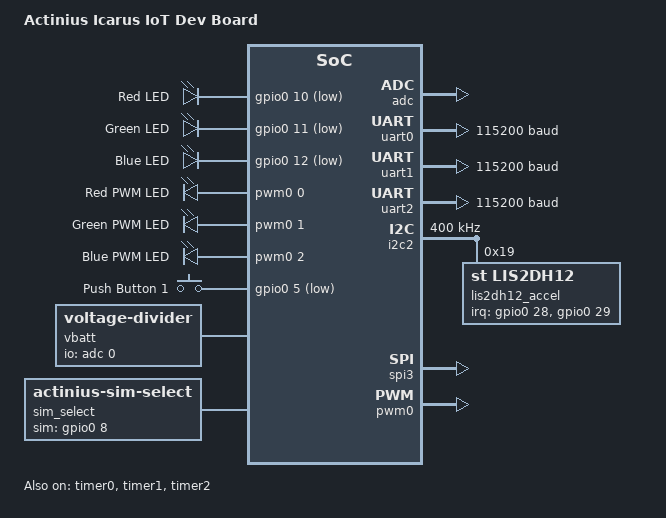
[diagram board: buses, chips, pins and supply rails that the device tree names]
/*
 * Copyright (c) 2019-2022 Actinius
 *
 * SPDX-License-Identifier: Apache-2.0
 */
#include "actinius_icarus_common-pinctrl.dtsi"

/ {
	model = "Actinius Icarus IoT Dev Board";
	compatible = "actinius,icarus";

	chosen {
		zephyr,console = &uart0;
		zephyr,shell-uart = &uart0;
		zephyr,uart-mcumgr = &uart0;
	};

	leds {
		compatible = "gpio-leds";

		red_led: led_0 {
			gpios = <&gpio0 10 GPIO_ACTIVE_LOW>;
			label = "Red LED";
		};

		green_led: led_1 {
			gpios = <&gpio0 11 GPIO_ACTIVE_LOW>;
			label = "Green LED";
		};

		blue_led: led_2 {
			gpios = <&gpio0 12 GPIO_ACTIVE_LOW>;
			label = "Blue LED";
		};
	};

	pwmleds {
		compatible = "pwm-leds";

		red_pwm_led: led_pwm_0 {
			pwms = <&pwm0 0 PWM_MSEC(20) PWM_POLARITY_INVERTED>;
			label = "Red PWM LED";
		};

		green_pwm_led: led_pwm_1 {
			pwms = <&pwm0 1 PWM_MSEC(20) PWM_POLARITY_INVERTED>;
			label = "Green PWM LED";
		};

		blue_pwm_led: led_pwm_2 {
			pwms = <&pwm0 2 PWM_MSEC(20) PWM_POLARITY_INVERTED>;
			label = "Blue PWM LED";
		};
	};

	buttons {
		compatible = "gpio-keys";

		button0: button_0 {
			gpios = <&gpio0 5 (GPIO_PULL_UP | GPIO_ACTIVE_LOW)>;
			label = "Push Button 1";
		};
	};

	aliases {
		led0 = &red_led;
		led1 = &green_led;
		led2 = &blue_led;
		pwm-led0 = &red_pwm_led;
		pwm-led1 = &green_pwm_led;
		pwm-led2 = &blue_pwm_led;
		red-pwm-led = &red_pwm_led;
		green-pwm-led = &green_pwm_led;
		blue-pwm-led = &blue_pwm_led;
		sw0 = &button0;
		bootloader-led0 = &blue_led;
		mcuboot-button0 = &button0;
		mcuboot-led0 = &blue_led;
		watchdog0 = &wdt0;
		accel0 = &lis2dh12_accel;
	};

	vbatt {
		compatible = "voltage-divider";
		io-channels = <&adc 0>;
		output-ohms = <10000000>;
		full-ohms = <(10000000 + 4700000)>;
	};

	sim_select: sim-select {
		compatible = "actinius-sim-select";
		sim-gpios = <&gpio0 8 GPIO_ACTIVE_HIGH>;
		sim = "esim";
	};
};

&adc {
	status ="okay";
};

&gpiote {
	status = "okay";
};

&gpio0 {
	status = "okay";
};

&uart0 {
	status = "okay";

	current-speed = <115200>;
	pinctrl-0 = <&uart0_default>;
	pinctrl-1 = <&uart0_sleep>;
	pinctrl-names = "default", "sleep";
};

&uart1 {
	status = "okay";

	current-speed = <115200>;
	pinctrl-0 = <&uart1_default>;
	pinctrl-1 = <&uart1_sleep>;
	pinctrl-names = "default", "sleep";
};

&uart2 {
	current-speed = <115200>;
	pinctrl-0 = <&uart2_default>;
	pinctrl-1 = <&uart2_sleep>;
	pinctrl-names = "default", "sleep";
};

&i2c2 {
	compatible = "nordic,nrf-twim";
	status = "okay";

	clock-frequency = <I2C_BITRATE_FAST>;

	pinctrl-0 = <&i2c2_default>;
	pinctrl-1 = <&i2c2_sleep>;
	pinctrl-names = "default", "sleep";
	lis2dh12_accel: lis2dh12-accel@19 {
		compatible = "st,lis2dh12", "st,lis2dh";
		reg = <0x19>;
		irq-gpios = <&gpio0 28 GPIO_ACTIVE_HIGH>,
			  <&gpio0 29 GPIO_ACTIVE_HIGH>;
	};
};

&spi3 {
	compatible = "nordic,nrf-spim";
	status = "okay";

	pinctrl-0 = <&spi3_default>;
	pinctrl-1 = <&spi3_sleep>;
	pinctrl-names = "default", "sleep";
};

&pwm0 {
	status = "okay";
	pinctrl-0 = <&pwm0_default>;
	pinctrl-1 = <&pwm0_sleep>;
	pinctrl-names = "default", "sleep";
};

&timer0 {
	status = "okay";
};

&timer1 {
	status = "okay";
};

&timer2 {
	status = "okay";
};

&flash0 {
	partitions {
		compatible = "fixed-partitions";
		#address-cells = <1>;
		#size-cells = <1>;

		boot_partition: partition@0 {
			label = "mcuboot";
			reg = <0x00000000 0x10000>;
		};
		slot0_partition: partition@10000 {
			label = "image-0";
		};
		slot0_ns_partition: partition@50000 {
			label = "image-0-nonsecure";
		};
		slot1_partition: partition@80000 {
			label = "image-1";
		};
		slot1_ns_partition: partition@c0000 {
			label = "image-1-nonsecure";
		};
		scratch_partition: partition@f0000 {
			label = "image-scratch";
			reg = <0x000f0000 0xa000>;
		};
		storage_partition: partition@fa000 {
			label = "storage";
			reg = <0x000fa000 0x00006000>;
		};
	};
};

/ {

	reserved-memory {
		#address-cells = <1>;
		#size-cells = <1>;
		ranges;

		sram0_s: image_s@20000000 {
			/* Secure image memory */
		};

		sram0_modem: image_modem@20016000 {
			/* Modem (shared) memory */
		};

		sram0_ns: image_ns@20020000 {
			/* Non-Secure image memory */
		};
	};
};

/* Include file with mappings and aliases for feather compatibility */
#include "feather_connector.dtsi"

/* Include partition configuration file */
#include "actinius_icarus_partition_conf.dts"
